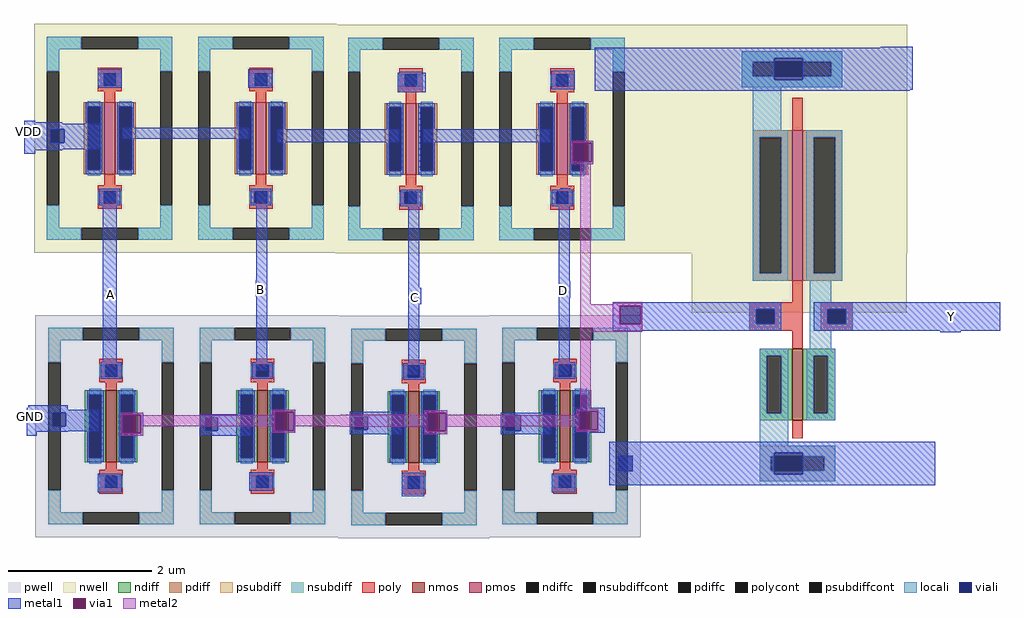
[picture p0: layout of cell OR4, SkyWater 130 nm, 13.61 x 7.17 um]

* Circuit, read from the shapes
.subckt OR4 A B C D GND VDD Y
XM1 NOR4_0/Y A GND GND sky130_fd_pr__nfet_01v8 w=1 l=0.15
XM2 NOR4_0/Y B GND GND sky130_fd_pr__nfet_01v8 w=1 l=0.15
XM3 NOR4_0/Y C GND GND sky130_fd_pr__nfet_01v8 w=1 l=0.15
XM4 NOR4_0/Y D GND GND sky130_fd_pr__nfet_01v8 w=1 l=0.15
XM5 Y NOR4_0/Y GND GND sky130_fd_pr__nfet_01v8 w=1 l=0.15
XM6 NOR4_0/XM7/D A VDD VDD sky130_fd_pr__pfet_01v8 w=1 l=0.15
XM7 NOR4_0/sky130_fd_pr__pfet_01v8_KBS6X7_0/D B NOR4_0/XM7/D VDD sky130_fd_pr__pfet_01v8 w=1 l=0.15
XM8 NOR4_0/XM9/D C NOR4_0/sky130_fd_pr__pfet_01v8_KBS6X7_0/D VDD sky130_fd_pr__pfet_01v8 w=1 l=0.15
XM9 NOR4_0/Y D NOR4_0/XM9/D VDD sky130_fd_pr__pfet_01v8 w=1 l=0.15
XM10 Y NOR4_0/Y VDD VDD sky130_fd_pr__pfet_01v8 w=2.1 l=0.15
.ends

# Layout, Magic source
magic
tech sky130A
<< nwell >>
rect 720 394 1216 713
<< viali >>
rect 813 90 833 112
<< metal1 >>
rect -16 533 0 579
rect 96 327 109 348
rect 307 334 322 357
rect 523 323 538 346
rect 731 332 746 355
rect 1262 284 1290 323
rect -12 140 2 179
<< via1 >>
rect 815 295 844 321
<< metal2 >>
rect 806 323 846 325
rect 760 321 846 323
rect 760 295 815 321
rect 844 295 846 321
rect 760 285 846 295
use INV  INV_0
transform 1 0 1065 0 1 461
box -285 -390 280 235
use NOR4  NOR4_0 /home/apn/mag_gates
transform 1 0 88 0 1 -12
box -102 9 756 726
<< labels >>
rlabel metal1 -7 166 -7 166 1 GND
rlabel metal1 -10 564 -10 564 1 VDD
rlabel metal1 104 336 104 336 1 A
rlabel metal1 314 344 314 344 1 B
rlabel metal1 529 332 529 332 1 C
rlabel metal1 736 342 736 342 1 D
rlabel metal1 1277 306 1277 306 1 Y
<< end >>

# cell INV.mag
magic
tech sky130A
<< nwell >>
rect -150 -150 150 235
<< nmos >>
rect -10 -300 5 -200
<< pmos >>
rect -10 -105 5 105
<< ndiff >>
rect -55 -210 -10 -200
rect -55 -290 -45 -210
rect -25 -290 -10 -210
rect -55 -300 -10 -290
rect 5 -210 50 -200
rect 5 -290 20 -210
rect 40 -290 50 -210
rect 5 -300 50 -290
<< pdiff >>
rect -65 95 -10 105
rect -65 -95 -55 95
rect -25 -95 -10 95
rect -65 -105 -10 -95
rect 5 95 60 105
rect 5 -95 20 95
rect 50 -95 60 95
rect 5 -105 60 -95
<< ndiffc >>
rect -45 -290 -25 -210
rect 20 -290 40 -210
<< pdiffc >>
rect -55 -95 -25 95
rect 20 -95 50 95
<< psubdiff >>
rect -55 -350 50 -335
rect -55 -370 -40 -350
rect 35 -370 50 -350
rect -55 -385 50 -370
<< nsubdiff >>
rect -80 200 60 215
rect -80 180 -65 200
rect 45 180 60 200
rect -80 165 60 180
<< psubdiffcont >>
rect -40 -370 35 -350
<< nsubdiffcont >>
rect -65 180 45 200
<< poly >>
rect -10 105 5 150
rect -10 -135 5 -105
rect -70 -145 5 -135
rect -70 -165 -60 -145
rect -35 -165 5 -145
rect -70 -175 5 -165
rect 30 -145 75 -135
rect 30 -165 40 -145
rect 65 -165 75 -145
rect 30 -175 75 -165
rect -10 -200 5 -175
rect -10 -325 5 -300
<< polycont >>
rect -60 -165 -35 -145
rect 40 -165 65 -145
<< locali >>
rect -80 205 60 215
rect -80 200 -35 205
rect 5 200 60 205
rect -80 180 -65 200
rect 45 180 60 200
rect -80 175 -35 180
rect 5 175 60 180
rect -80 165 60 175
rect -65 105 -25 165
rect -65 95 -15 105
rect -65 -95 -55 95
rect -25 -95 -15 95
rect -65 -105 -15 -95
rect 10 95 60 105
rect 10 -95 20 95
rect 50 -95 60 95
rect 10 -105 60 -95
rect 15 -135 45 -105
rect -70 -145 -25 -135
rect -70 -165 -60 -145
rect -35 -165 -25 -145
rect -70 -175 -25 -165
rect 15 -145 75 -135
rect 15 -165 40 -145
rect 65 -165 75 -145
rect 15 -175 75 -165
rect 15 -200 45 -175
rect -55 -210 -15 -200
rect -55 -290 -45 -210
rect -25 -290 -15 -210
rect -55 -335 -15 -290
rect 10 -210 50 -200
rect 10 -290 20 -210
rect 40 -290 50 -210
rect 10 -300 50 -290
rect -55 -345 50 -335
rect -55 -350 -35 -345
rect 5 -350 50 -345
rect -55 -370 -40 -350
rect 35 -370 50 -350
rect -55 -375 -35 -370
rect 5 -375 50 -370
rect -55 -385 50 -375
<< viali >>
rect -35 200 5 205
rect -35 180 5 200
rect -35 175 5 180
rect -60 -165 -35 -145
rect 40 -165 65 -145
rect -35 -350 5 -345
rect -35 -370 5 -350
rect -35 -375 5 -370
<< metal1 >>
rect 114 220 158 221
rect -285 205 158 220
rect -285 175 -35 205
rect 5 175 158 205
rect -285 161 158 175
rect -285 160 154 161
rect -260 -145 -25 -135
rect -260 -165 -60 -145
rect -35 -165 -25 -145
rect -260 -175 -25 -165
rect 20 -145 280 -135
rect 20 -165 40 -145
rect 65 -165 280 -145
rect 20 -175 280 -165
rect -265 -345 190 -330
rect -265 -375 -35 -345
rect 5 -375 190 -345
rect -265 -390 190 -375
<< labels >>
rlabel metal1 155 196 155 196 1 vdd
rlabel metal1 250 -165 265 -145 1 out
rlabel metal1 175 -360 175 -360 1 vss
rlabel metal1 -240 -165 -225 -145 1 in
<< end >>

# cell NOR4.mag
magic
tech sky130A
magscale 1 2
<< viali >>
rect -134 1120 -96 1158
rect -128 330 -92 368
rect 298 318 332 354
rect 714 320 750 356
rect 1136 318 1178 360
<< metal1 >>
rect -2 1274 64 1326
rect 418 1274 484 1326
rect 842 1316 900 1318
rect 834 1262 912 1316
rect 1262 1270 1328 1322
rect -204 1174 -102 1178
rect -204 1158 2 1174
rect -204 1120 -134 1158
rect -96 1120 2 1158
rect 66 1132 420 1162
rect 498 1122 838 1158
rect 906 1122 1260 1158
rect -204 1102 2 1120
rect 1316 1120 1380 1126
rect -204 1100 -102 1102
rect 1316 1068 1322 1120
rect 1376 1068 1380 1120
rect 1316 1060 1380 1068
rect 1288 990 1316 994
rect 1288 988 1314 990
rect 12 470 50 986
rect 440 484 470 986
rect 864 968 890 986
rect 864 490 894 968
rect 864 474 890 490
rect 1284 478 1314 988
rect 1284 472 1310 478
rect -196 376 -86 388
rect -196 368 0 376
rect 486 370 548 376
rect -196 330 -128 368
rect -92 330 0 368
rect -196 316 0 330
rect 62 362 124 368
rect -196 314 -86 316
rect 62 310 66 362
rect 118 310 124 362
rect 62 304 124 310
rect 284 354 424 364
rect 284 318 298 354
rect 332 318 424 354
rect 284 304 424 318
rect 486 318 492 370
rect 544 318 548 370
rect 486 312 548 318
rect 700 356 846 370
rect 700 320 714 356
rect 750 320 846 356
rect 700 308 846 320
rect 908 368 972 374
rect 1328 372 1412 382
rect 908 316 916 368
rect 968 316 972 368
rect 908 308 972 316
rect 1122 360 1262 368
rect 1122 318 1136 360
rect 1178 318 1262 360
rect 1122 308 1262 318
rect 1328 320 1340 372
rect 1392 320 1412 372
rect 1328 312 1412 320
rect -2 146 64 198
rect 420 150 486 202
rect 846 134 908 200
rect 1264 146 1330 198
<< via1 >>
rect 1322 1068 1376 1120
rect 66 310 118 362
rect 492 318 544 370
rect 916 316 968 368
rect 1340 320 1392 372
<< metal2 >>
rect 1316 1120 1380 1126
rect 1316 1068 1322 1120
rect 1376 1068 1380 1120
rect 1316 1060 1380 1068
rect 1344 378 1372 1060
rect 486 370 548 376
rect 62 362 124 368
rect 62 310 66 362
rect 118 360 124 362
rect 486 360 492 370
rect 118 330 492 360
rect 118 310 124 330
rect 486 318 492 330
rect 544 360 548 370
rect 908 368 972 374
rect 908 362 916 368
rect 674 360 916 362
rect 544 330 916 360
rect 544 318 548 330
rect 674 328 916 330
rect 486 312 548 318
rect 908 316 916 328
rect 968 362 972 368
rect 1332 372 1394 378
rect 968 360 1124 362
rect 1332 360 1340 372
rect 968 330 1340 360
rect 968 328 1124 330
rect 968 316 972 328
rect 62 304 124 310
rect 908 308 972 316
rect 1332 320 1340 330
rect 1392 320 1394 372
rect 1332 314 1394 320
use sky130_fd_pr__nfet_01v8_SFU2NW  sky130_fd_pr__nfet_01v8_SFU2NW_0
transform 1 0 1301 0 1 330
box -211 -310 211 310
use sky130_fd_pr__nfet_01v8_SFU2NW  sky130_fd_pr__nfet_01v8_SFU2NW_1
transform 1 0 879 0 1 328
box -211 -310 211 310
use sky130_fd_pr__pfet_01v8_KBS6X7  sky130_fd_pr__pfet_01v8_KBS6X7_0
transform 1 0 871 0 1 1131
box -211 -319 211 319
use sky130_fd_pr__pfet_01v8_KBS6X7  XM5
transform 1 0 31 0 1 1133
box -211 -319 211 319
use sky130_fd_pr__nfet_01v8_SFU2NW  XM6
transform 1 0 35 0 1 330
box -211 -310 211 310
use sky130_fd_pr__pfet_01v8_KBS6X7  XM7
transform 1 0 453 0 1 1133
box -211 -319 211 319
use sky130_fd_pr__nfet_01v8_SFU2NW  XM8
transform 1 0 457 0 1 330
box -211 -310 211 310
use sky130_fd_pr__pfet_01v8_KBS6X7  XM9
transform 1 0 1293 0 1 1131
box -211 -319 211 319
<< labels >>
rlabel metal1 -196 1130 -196 1130 1 VDD
rlabel metal1 -188 342 -188 342 1 GND
rlabel metal1 22 716 22 716 1 A
rlabel metal1 450 716 450 716 1 B
rlabel metal1 1402 342 1402 342 1 Y
rlabel metal1 874 694 874 694 1 C
rlabel metal1 1294 710 1294 710 1 D
<< end >>

# cell sky130_fd_pr__nfet_01v8_SFU2NW: kit device sky130_fd_pr__nfet_01v8, w 1.0 l 0.15 m 1 nf 1 diffcov 100 polycov 100 guard 1 glc 1 grc 1 gtc 1 gbc 1 tbcov 100 rlcov 100 topc 1 botc 1 poverlap 0 doverlap 1 lmin 0.15 wmin 0.42 class mosfet compatible {sky130_fd_pr__nfet_01v8 sky130_fd_pr__nfet_01v8_lvt sky130_fd_bs_flash__special_sonosfet_star sky130_fd_pr__nfet_g5v0d10v5 sky130_fd_pr__nfet_05v0_nvt sky130_fd_pr__nfet_03v3_nvt} full_metal 1 viasrc 100 viadrn 100 viagate 100 viagb 0 viagr 0 viagl 0 viagt 0 doports 1 ad {int((nf+1)/2) * W/nf * 0.29} as {int((nf+2)/2) * W/nf * 0.29} pd {2*int((nf+1)/2) * (W/nf + 0.29)} ps {2*int((nf+2)/2) * (W/nf + 0.29)} nrd {0.29 / W} nrs {0.29 / W} sa 0 sb 0 sd 0 mult 1

# cell sky130_fd_pr__pfet_01v8_KBS6X7: kit device sky130_fd_pr__pfet_01v8, w 1.0 l 0.15 m 1 nf 1 diffcov 100 polycov 100 guard 1 glc 1 grc 1 gtc 1 gbc 1 tbcov 100 rlcov 100 topc 1 botc 1 poverlap 0 doverlap 1 lmin 0.15 wmin 0.42 class mosfet compatible {sky130_fd_pr__pfet_01v8 sky130_fd_pr__pfet_01v8_lvt sky130_fd_pr__pfet_01v8_hvt sky130_fd_pr__pfet_g5v0d10v5} full_metal 1 viasrc 100 viadrn 100 viagate 100 viagb 0 viagr 0 viagl 0 viagt 0 doports 1 ad {int((nf+1)/2) * W/nf * 0.29} as {int((nf+2)/2) * W/nf * 0.29} pd {2*int((nf+1)/2) * (W/nf + 0.29)} ps {2*int((nf+2)/2) * (W/nf + 0.29)} nrd {0.29 / W} nrs {0.29 / W} sa 0 sb 0 sd 0 mult 1
